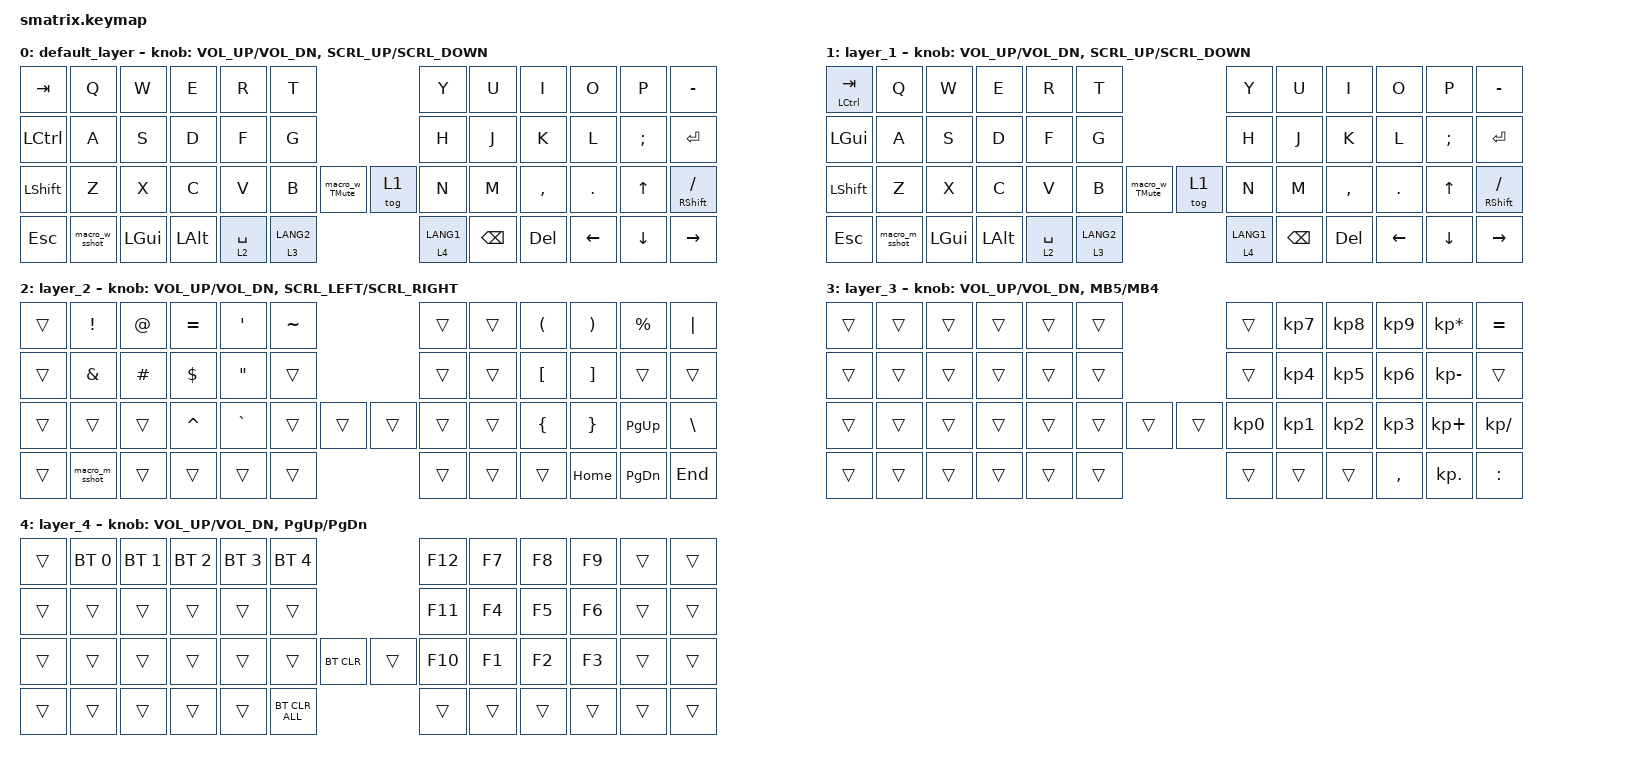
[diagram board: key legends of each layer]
// OS設定を日本語キーボードのまま使用するための変換定義
#define JP_DQUOTE       AT                // "
#define JP_AMPERSAND    CARET             // &
#define JP_QUOTE        AMPERSAND         // '
#define JP_EQUAL        UNDER             // =
#define JP_CARET        EQUAL             // ^
#define JP_YEN          0x89              // ¥
#define JP_PLUS         COLON             // +
#define JP_TILDE        PLUS              // ~
#define JP_PIPE         LS(0x89)          // |
#define JP_AT           LEFT_BRACKET      // @
#define JP_COLON        SINGLE_QUOTE      // :
#define JP_ASTERISK     DOUBLE_QUOTES     // *
#define JP_BACKQUOTE    LEFT_BRACE        // `
#define JP_UNDERSCORE   LS(0x87)          // _
#define JP_LBRACKET     RIGHT_BRACKET     // [
#define JP_RBRACKET     BACKSLASH         // ]
#define JP_LPAREN       ASTERISK          // (
#define JP_RPAREN       LEFT_PARENTHESIS  // )
#define JP_LBRACE       RIGHT_BRACE       // {
#define JP_RBRACE       PIPE              // }
#define JP_KANA         LANGUAGE_1        // かな
#define JP_EISU         LANGUAGE_2        // 英数
#define JP_HANZEN       GRAVE             // 半角/全角

#include <behaviors.dtsi>
#include <dt-bindings/zmk/bt.h>

#define ZMK_POINTING_DEFAULT_MOVE_VAL 800
#define ZMK_POINTING_DEFAULT_SCRL_VAL 120

#include <dt-bindings/zmk/pointing.h>

#include <input/processors.dtsi>
#include <zephyr/dt-bindings/input/input-event-codes.h>

&mt {
    flavor = "balanced";
    quick-tap-ms = <0>;
};

&msc {
    delay-ms = <0>;
    trigger-period-ms = <10>;
    time-to-max-speed-ms = <0>;
    acceleration-exponent = <0>;
};

/ {
    input_processors {
        zip_wheel_scaler: zip_wheel_scaler {
            compatible = "zmk,input-processor-scaler";
            #input-processor-cells = <2>;
            type = <INPUT_EV_REL>;
            codes = <INPUT_REL_WHEEL>;
            track-remainders;
        };
    };
};

&msc_input_listener {
    warp {
        layers = <0>;
        input-processors = <&zip_wheel_scaler 4 1>;
    };
    precision {
        layers = <1>;
        input-processors = <&zip_wheel_scaler 1 2>;
    };
};

/ {
    behaviors {
        rot_kp: sensor_rotate_kp {
            compatible = "zmk,behavior-sensor-rotate-var";
            #sensor-binding-cells = <2>;
            bindings = <&kp>, <&kp>;
        };

        mouse_click: mouse_button_kp {
            compatible = "zmk,behavior-sensor-rotate-var";
            #sensor-binding-cells = <2>;
            bindings = <&mkp>, <&mkp>;
        };

        mouse_scrl: mouse_wheel_scrl {
            compatible = "zmk,behavior-sensor-rotate-var";
            #sensor-binding-cells = <2>;
            bindings = <&msc>, <&msc>;
            tap-ms = <10>;
        };

        macro_w_sshot: macro_w_sshot {
            compatible = "zmk,behavior-macro";
            label = "Win Screenshot Macro";
            #binding-cells = <0>;
            bindings =
                <&macro_press>,
                <&kp LGUI &kp LSHFT>,
                <&macro_tap>,
                <&kp S>,
                <&macro_release>,
                <&kp LGUI &kp LSHFT>;
        };

        macro_m_sshot: macro_m_sshot {
            compatible = "zmk,behavior-macro";
            label = "Mac Screenshot Macro";
            #binding-cells = <0>;
            bindings =
                <&macro_press>,
                <&kp LGUI &kp LSHFT>,
                <&macro_tap>,
                <&kp N4>,
                <&macro_release>,
                <&kp LGUI &kp LSHFT>;
        };

        macro_w_TMute: macro_w_TMute {
            compatible = "zmk,behavior-macro";
            label = "Win Teams Mic Mute";
            #binding-cells = <0>;
            bindings =
                <&macro_press>,
                <&kp LGUI &kp LALT>,
                <&macro_tap>,
                <&kp K>,
                <&macro_release>,
                <&kp LGUI &kp LALT>;
        };
    };

    macros {
    };

    keymap {
        compatible = "zmk,keymap";

        default_layer {
            bindings = <
&kp TAB    &kp Q           &kp W     &kp E     &kp R        &kp T                                           &kp Y        &kp U          &kp I      &kp O       &kp P     &kp MINUS
&kp LCTRL  &kp A           &kp S     &kp D     &kp F        &kp G                                           &kp H        &kp J          &kp K      &kp L       &kp SEMI  &kp ENTER
&kp LSHFT  &kp Z           &kp X     &kp C     &kp V        &kp B        &macro_w_TMute    &tog 1           &kp N        &kp M          &kp COMMA  &kp PERIOD  &kp UP    &mt RSHFT SLASH
&kp ESC    &macro_w_sshot  &kp LGUI  &kp LALT  &lt 2 SPACE  &lt 3 LANG2                                     &lt 4 LANG1  &kp BACKSPACE  &kp DEL    &kp LEFT    &kp DOWN  &kp RIGHT
            >;
            sensor-bindings = <&rot_kp C_VOL_UP C_VOL_DN    &mouse_scrl SCRL_UP SCRL_DOWN>;
        };

        layer_1 {
            bindings = <
&mt LCTRL TAB  &kp Q           &kp W     &kp E     &kp R        &kp T                                           &kp Y        &kp U          &kp I      &kp O       &kp P     &kp MINUS
&kp LGUI       &kp A           &kp S     &kp D     &kp F        &kp G                                           &kp H        &kp J          &kp K      &kp L       &kp SEMI  &kp ENTER
&kp LSHFT      &kp Z           &kp X     &kp C     &kp V        &kp B        &macro_w_TMute    &tog 1           &kp N        &kp M          &kp COMMA  &kp PERIOD  &kp UP    &mt RSHFT SLASH
&kp ESC        &macro_m_sshot  &kp LGUI  &kp LALT  &lt 2 SPACE  &lt 3 LANG2                                     &lt 4 LANG1  &kp BACKSPACE  &kp DEL    &kp LEFT    &kp DOWN  &kp RIGHT
            >;
            sensor-bindings = <&rot_kp C_VOL_UP C_VOL_DN    &mouse_scrl SCRL_UP SCRL_DOWN>;
        };

        layer_2 {
            bindings = <
&trans  &kp EXCL        &kp AT    &kp EQUAL   &kp APOS   &kp TILDE                    &trans  &trans  &kp LPAR  &kp RPAR  &kp PERCENT  &kp PIPE
&trans  &kp AMPS        &kp HASH  &kp DOLLAR  &kp DQT    &trans                       &trans  &trans  &kp LBKT  &kp RBKT  &trans       &trans
&trans  &trans          &trans    &kp CARET   &kp GRAVE  &trans     &trans    &trans  &trans  &trans  &kp LBRC  &kp RBRC  &kp PG_UP    &kp BSLH
&trans  &macro_m_sshot  &trans    &trans      &trans     &trans                       &trans  &trans  &trans    &kp HOME  &kp PG_DN    &kp END
            >;
            sensor-bindings = <&rot_kp C_VOL_UP C_VOL_DN    &mouse_scrl SCRL_LEFT SCRL_RIGHT>;
        };

        layer_3 {
            bindings = <
&trans  &trans  &trans  &trans  &trans  &trans                    &trans      &kp KP_N7  &kp KP_N8  &kp KP_N9  &kp KP_ASTERISK  &kp EQUAL
&trans  &trans  &trans  &trans  &trans  &trans                    &trans      &kp KP_N4  &kp KP_N5  &kp KP_N6  &kp KP_MINUS     &trans
&trans  &trans  &trans  &trans  &trans  &trans  &trans    &trans  &kp KP_N0   &kp KP_N1  &kp KP_N2  &kp KP_N3  &kp KP_PLUS      &kp KP_SLASH
&trans  &trans  &trans  &trans  &trans  &trans                    &trans      &trans     &trans     &kp COMMA  &kp KP_DOT       &kp COLON
            >;

            sensor-bindings = <&rot_kp C_VOL_UP C_VOL_DN    &mouse_click MB5 MB4>;
        };

        layer_4 {
            bindings = <
&trans  &bt BT_SEL 0  &bt BT_SEL 1  &bt BT_SEL 2  &bt BT_SEL 3  &bt BT_SEL 4                          &kp F12 &kp F7  &kp F8  &kp F9  &trans  &trans
&trans  &trans        &trans        &trans        &trans        &trans                                &kp F11 &kp F4  &kp F5  &kp F6  &trans  &trans
&trans  &trans        &trans        &trans        &trans        &trans          &bt BT_CLR    &trans  &kp F10 &kp F1  &kp F2  &kp F3  &trans  &trans
&trans  &trans        &trans        &trans        &trans        &bt BT_CLR_ALL                        &trans  &trans  &trans  &trans  &trans  &trans
            >;

            sensor-bindings = <&rot_kp C_VOL_UP C_VOL_DN    &rot_kp PG_UP PG_DN>;
        };
    };

};
